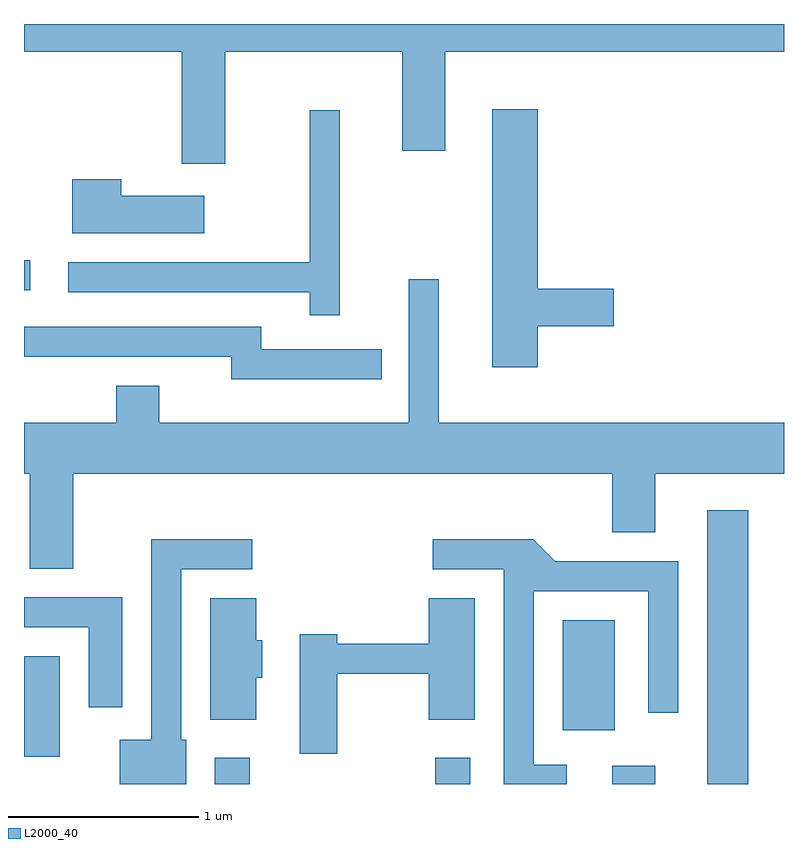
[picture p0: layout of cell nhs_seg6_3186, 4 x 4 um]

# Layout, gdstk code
import gdstk
lib = gdstk.Library(unit=1e-6, precision=1e-09)
def R(c, l, rs):  # rectangles x0, y0, x1, y1
    for r in rs: c.add(gdstk.rectangle(r[:2], r[2:], *l))
def P(c, l, *ps):  # polygons
    for p in ps: c.add(gdstk.Polygon(p, *l))
L2000_40 = (2000, 40)

nhs_seg6_3186 = lib.new_cell('nhs_seg6_3186')
R(nhs_seg6_3186, L2000_40, [(282.616,1566.162,282.799,1566.299), (283.776,1566.162,283.959,1566.299), (284.706,1566.162,284.934,1566.259), (285.206,1566.162,285.424,1567.604), (281.611,1566.306,281.799,1566.834), (284.446,1566.446,284.719,1567.024), (281.611,1568.761,281.643,1568.919)])
P(nhs_seg6_3186, L2000_40, [(282.669,1570.016),(283.601,1570.016),(283.601,1569.496),(283.829,1569.496),(283.829,1570.016),(285.611,1570.016),(285.611,1570.162),(281.611,1570.162),(281.611,1570.016),(282.441,1570.016),(282.441,1569.426),(282.669,1569.426)],
  [(284.314,1568.571),(284.714,1568.571),(284.714,1568.769),(284.314,1568.769),(284.314,1569.714),(284.076,1569.714),(284.076,1568.356),(284.314,1568.356)],
  [(283.274,1569.708),(283.116,1569.708),(283.116,1568.909),(281.843,1568.909),(281.843,1568.751),(283.116,1568.751),(283.116,1568.628),(283.274,1568.628)],
  [(282.559,1569.259),(282.124,1569.259),(282.124,1569.344),(281.866,1569.344),(281.866,1569.061),(282.559,1569.061)],
  [(281.869,1567.796),(284.706,1567.796),(284.706,1567.486),(284.934,1567.486),(284.934,1567.796),(285.611,1567.796),(285.611,1568.064),(283.794,1568.064),(283.794,1568.818),(283.636,1568.818),(283.636,1568.064),(282.324,1568.064),(282.324,1568.259),(282.096,1568.259),(282.096,1568.064),(281.611,1568.064),(281.611,1567.796),(281.641,1567.796),(281.641,1567.296),(281.869,1567.296)],
  [(283.493,1568.449),(282.859,1568.449),(282.859,1568.569),(281.611,1568.569),(281.611,1568.411),(282.701,1568.411),(282.701,1568.291),(283.493,1568.291)],
  [(284.468,1566.264),(284.294,1566.264),(284.294,1567.176),(284.896,1567.176),(284.896,1566.538),(285.054,1566.538),(285.054,1567.334),(284.407,1567.334),(284.292,1567.449),(283.763,1567.449),(283.763,1567.291),(284.136,1567.291),(284.136,1566.162),(284.468,1566.162)],
  [(282.464,1566.394),(282.439,1566.394),(282.439,1567.291),(282.813,1567.291),(282.813,1567.449),(282.281,1567.449),(282.281,1566.394),(282.116,1566.394),(282.116,1566.162),(282.464,1566.162)],
  [(282.129,1567.144),(281.611,1567.144),(281.611,1566.986),(281.951,1566.986),(281.951,1566.566),(282.129,1566.566)],
  [(283.259,1566.741),(283.741,1566.741),(283.741,1566.501),(283.984,1566.501),(283.984,1567.139),(283.741,1567.139),(283.741,1566.899),(283.259,1566.899),(283.259,1566.949),(283.061,1566.949),(283.061,1566.321),(283.259,1566.321)],
  [(282.834,1566.721),(282.864,1566.721),(282.864,1566.919),(282.834,1566.919),(282.834,1567.139),(282.591,1567.139),(282.591,1566.501),(282.834,1566.501)])

lib.write_gds('nhs_seg6_3186.gds')
